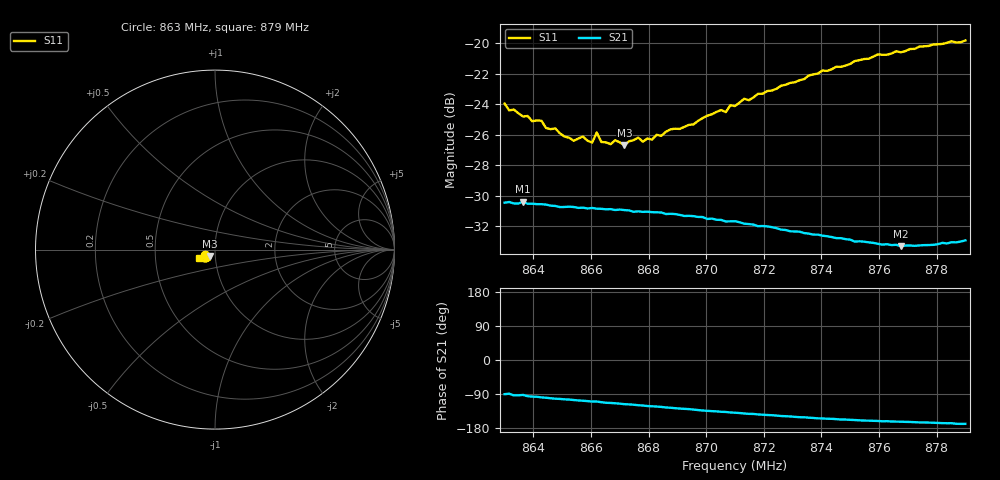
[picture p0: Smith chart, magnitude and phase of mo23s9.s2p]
# HZ S RI R 50
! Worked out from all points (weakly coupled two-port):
!   101 points, 863 MHz to 879 MHz, reference 50 ohm
!   highest |S21| = -30.39 dB at 863.64 MHz (marker M1); lowest = -33.3 dB at 876.76 MHz (marker M2)
!   lowest |S11| = -26.7 dB at 867.16 MHz (marker M3), VSWR 1.10, Z = 47 - j3.31 ohm
!   |S11| at or under -10 dB: start of sweep to end of sweep
!   S12 and S22 are empty: the file has one direction only
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8.63e8  -0.0546 -0.0323  -7.1e-05 -0.03  0 0  0 0
8.6316e8  -0.0506 -0.0327  0.000551 -0.0302  0 0  0 0
8.6364e8  -0.0482 -0.0314  -0.00114 -0.0302  0 0  0 0
8.6428e8  -0.0452 -0.0326  -0.00445 -0.0293  0 0  0 0
8.6444e8  -0.0436 -0.0297  -0.00493 -0.0292  0 0  0 0
8.6476e8  -0.0427 -0.0307  -0.00617 -0.0286  0 0  0 0
8.654e8  -0.0365 -0.0309  -0.00782 -0.028  0 0  0 0
8.6572e8  -0.0368 -0.0331  -0.00868 -0.0276  0 0  0 0
8.6604e8  -0.0342 -0.0325  -0.00973 -0.0272  0 0  0 0
8.662e8  -0.0365 -0.0356  -0.0096 -0.027  0 0  0 0
8.6636e8  -0.0336 -0.0335  -0.0105 -0.0267  0 0  0 0
8.6684e8  -0.0325 -0.0355  -0.0116 -0.0259  0 0  0 0
8.6716e8  -0.0302 -0.0352  -0.0127 -0.0254  0 0  0 0
8.6764e8  -0.0294 -0.0393  -0.0138 -0.0245  0 0  0 0
8.678e8  -0.0277 -0.0387  -0.014 -0.0242  0 0  0 0
8.6844e8  -0.0267 -0.042  -0.0155 -0.0232  0 0  0 0
8.71e8  -0.0295 -0.0548  -0.0197 -0.0171  0 0  0 0
8.7132e8  -0.0322 -0.0573  -0.0199 -0.0161  0 0  0 0
8.7372e8  -0.0451 -0.0649  -0.021 -0.0107  0 0  0 0
8.7644e8  -0.0685 -0.0623  -0.0208 -0.00661  0 0  0 0
8.7676e8  -0.0712 -0.0603  -0.0207 -0.00641  0 0  0 0
8.79e8  -0.0906 -0.047  -0.0221 -0.00451  0 0  0 0
